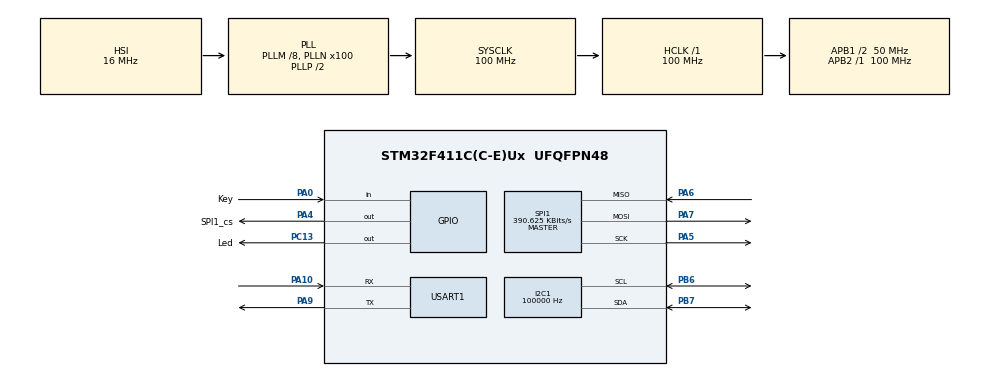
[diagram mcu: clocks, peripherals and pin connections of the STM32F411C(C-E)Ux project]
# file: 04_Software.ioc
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Dma.Request0=USART1_RX
Dma.USART1_RX.0.Direction=DMA_PERIPH_TO_MEMORY
Dma.USART1_RX.0.FIFOMode=DMA_FIFOMODE_DISABLE
Dma.USART1_RX.0.Instance=DMA2_Stream2
Dma.USART1_RX.0.MemDataAlignment=DMA_MDATAALIGN_BYTE
Dma.USART1_RX.0.MemInc=DMA_MINC_ENABLE
Dma.USART1_RX.0.Mode=DMA_NORMAL
Dma.USART1_RX.0.PeriphDataAlignment=DMA_PDATAALIGN_BYTE
Dma.USART1_RX.0.PeriphInc=DMA_PINC_DISABLE
Dma.USART1_RX.0.Priority=DMA_PRIORITY_LOW
FREERTOS.Tasks01=defaultTask,24,128,StartDefaultTask,Default,NULL,Dynamic,NULL,NULL
Mcu.Family=STM32F4
Mcu.Name=STM32F411C(C-E)Ux
Mcu.Package=UFQFPN48
NVIC.DMA2_Stream2_IRQn=true\:6\:0\:false\:false\:true\:true\:false\:true\:true
NVIC.PriorityGroup=NVIC_PRIORITYGROUP_4
NVIC.USART1_IRQn=true\:6\:0\:false\:false\:true\:true\:true\:true\:true
PA0-WKUP.GPIO_Label=Key
PA0-WKUP.Signal=GPIO_Input
PA10.Mode=Asynchronous
PA10.Signal=USART1_RX
PA13.Mode=Serial_Wire
PA13.Signal=SYS_JTMS-SWDIO
PA14.Mode=Serial_Wire
PA14.Signal=SYS_JTCK-SWCLK
PA4.GPIO_Label=SPI1_cs
PA4.GPIO_Speed=GPIO_SPEED_FREQ_HIGH
PA4.Signal=GPIO_Output
PA5.Mode=Full_Duplex_Master
PA5.Signal=SPI1_SCK
PB6.Mode=I2C
PB6.Signal=I2C1_SCL
PB7.Mode=I2C
PB7.Signal=I2C1_SDA
PA6.Mode=Full_Duplex_Master
PA6.Signal=SPI1_MISO
PA7.Mode=Full_Duplex_Master
PA7.Signal=SPI1_MOSI
PA9.Mode=Asynchronous
PA9.Signal=USART1_TX
PC13-ANTI_TAMP.GPIO_Label=Led
PC13-ANTI_TAMP.Signal=GPIO_Output
PC14-OSC32_IN.Mode=LSE-External-Oscillator
PC14-OSC32_IN.Signal=RCC_OSC32_IN
PC15-OSC32_OUT.Mode=LSE-External-Oscillator
PC15-OSC32_OUT.Signal=RCC_OSC32_OUT
PH0\ -\ OSC_IN.Mode=HSE-External-Oscillator
PH0\ -\ OSC_IN.Signal=RCC_OSC_IN
PH1\ -\ OSC_OUT.Mode=HSE-External-Oscillator
PH1\ -\ OSC_OUT.Signal=RCC_OSC_OUT
ProjectManager.HeapSize=0x200
ProjectManager.StackSize=0x400
ProjectManager.TargetToolchain=MDK-ARM V5.32
RCC.48MHZClocksFreq_Value=50000000
RCC.AHBFreq_Value=100000000
RCC.APB1CLKDivider=RCC_HCLK_DIV2
RCC.APB1Freq_Value=50000000
RCC.APB1TimFreq_Value=100000000
RCC.APB2Freq_Value=100000000
RCC.APB2TimFreq_Value=100000000
RCC.CortexFreq_Value=100000000
RCC.HCLKFreq_Value=100000000
RCC.HSE_VALUE=25000000
RCC.HSI_VALUE=16000000
RCC.PLLM=8
RCC.PLLN=100
RCC.SYSCLKFreq_VALUE=100000000
RCC.SYSCLKSource=RCC_SYSCLKSOURCE_PLLCLK
RCC.VCOOutputFreq_Value=200000000
SPI1.BaudRatePrescaler=SPI_BAUDRATEPRESCALER_256
SPI1.CalculateBaudRate=390.625 KBits/s
SPI1.Direction=SPI_DIRECTION_2LINES
SPI1.Mode=SPI_MODE_MASTER
SPI1.VirtualType=VM_MASTER
I2C1.ClockSpeed=100000
I2C1.DutyCycle=I2C_DUTYCYCLE_2
USART1.VirtualMode=VM_ASYNC
VP_FREERTOS_VS_CMSIS_V2.Mode=CMSIS_V2
board=custom

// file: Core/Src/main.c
/* USER CODE BEGIN Header */
/**
  ******************************************************************************
  * @file           : main.c
  * @brief          : Main program body
  ******************************************************************************
  * @attention
  *
  * Copyright (c) 2026 STMicroelectronics.
  * All rights reserved.
  *
  * This software is licensed under terms that can be found in the LICENSE file
  * in the root directory of this software component.
  * If no LICENSE file comes with this software, it is provided AS-IS.
  *
  ******************************************************************************
  */
/* USER CODE END Header */
#include "main.h"
#include "cmsis_os.h"
#include "dma.h"
#include "i2c.h"
#include "spi.h"
#include "usart.h"
#include "gpio.h"

/* USER CODE BEGIN Includes */
#include "OtaFlag.h"
/* ---- 022 屏幕界面移植（只增不改） ---- */
#include "bsp_st7789_port.h"   /* 屏幕 BSP：bsp_st7789_port_init() */
#include "bsp_st7789.h"        /* ST7789_BLACK */
#include "screen_hw.h"         /* SPI2/DMA/GPIO 上电（屏幕专用，不占 SPI1） */
#include "bsp_i2c1_bus.h"      /* I2C1 总线锁（触摸与 EEPROM 共享总线） */
#include "lvgl.h"
#include "lv_port_disp.h"
#include "lv_port_indev.h"     /* lv_port_indev_init() —— 触摸 */
#include "gui_guider.h"        /* guider_ui 全局实例 */
#include "gg_utils.h"          /* setup_ui() —— 建界面并显示 */
#include "custom.h"            /* custom_init() —— 用户逻辑 */
/* USER CODE END Includes */

/* USER CODE BEGIN PV */
/* GUI Guider 界面全局实例（gui_guider.h 里是 extern 声明，定义在这） */
gg_ui_t guider_ui;
/* USER CODE END PV */

void SystemClock_Config(void);
void MX_FREERTOS_Init(void);

/* USER CODE BEGIN 0 */

/* [DBG] 临时排错打点: 每个初始化步骤往 USART1 打一行(115200),
   定位"屏幕黑/卡死在初始化"用, 排错完可整段删掉 */
static void dbg_step(const char *tag)
{
  uint16_t len = 0U;
  while (tag[len] != '\0') { len++; }
  (void)HAL_UART_Transmit(&huart1, (const uint8_t *)tag, len, 50U);
}

/**
  * @brief  App 自检: 新固件第一次上电(标志=0x22"验证新App")时跑,
  *         通过就置 0x33 让 Bootloader 把 A 区固件备份进 B 区
  * @retval 0: 自检通过
  * @note   自检内容: 能执行到这里 = 时钟/Flash/内核基本正常;
  *         再验一遍自己向量表的合法性(栈顶指向 RAM、复位向量落在
  *         App 区间且 bit0=1)。业务级的自检(外设探测等)在各自模块
  *         的 Init 里已经隐式做过。
  *
  *         自检【失败】时的处理是"什么都不做、不喂狗":
  *         Boot 跳过来前开了 IWDG(约8.2s), 不喂狗它自己会复位。
  *         复位后 Boot 检测到"标志0x22 + 看门狗复位"即判定新固件
  *         验证失败, 转回滚流程恢复 B 区旧固件。
  */
static uint8_t App_SelfCheck(void)
{
  const uint32_t *vtor = (const uint32_t *)0x0800C000UL;  /* App 向量表 */
  uint32_t sp = vtor[0];
  uint32_t pc = vtor[1];

  /* 栈顶必须指向 RAM(0x2000xxxx) */
  if ((sp & 0x2FFE0000UL) != 0x20000000UL)
  {
    return 1U;
  }

  /* 复位向量必须落在 App 区间 [0x0800C000, 0x08080000) 且 Thumb 位=1 */
  if ((pc < 0x0800C000UL) || (pc >= 0x08080000UL) || ((pc & 1UL) == 0UL))
  {
    return 1U;
  }

  return 0U;
}

/* USER CODE END 0 */

int main(void)
{

  /* MCU Configuration--------------------------------------------------------*/

  /* Reset of all peripherals, Initializes the Flash interface and the Systick. */
  HAL_Init();

  /* Configure the system clock */
  SystemClock_Config();

  /* Initialize all configured peripherals */
  MX_GPIO_Init();
  MX_DMA_Init();
  MX_USART1_UART_Init();
  MX_SPI1_Init();
  MX_I2C1_Init();
  /* USER CODE BEGIN 2 */

  /* [关键] Boot 的 JumpToApp() 是 __disable_irq() 后直接跳过来的,
     而"跳转"不是复位, PRIMASK 会原样带进 App —— 不在这里重新开中断,
     SysTick 永远不触发, uwTick 不走, 第一处 HAL_Delay 就死循环。
     (Keil 直接下载调试时 PRIMASK 本来就是 0, 这行是给"Boot 跳转"用的) */
  __enable_irq();

  /* ===== 与 Bootloader 的升级交接(见流程图 App侧) =====
     Boot 每次上电按标志扇区分发, 这里是 App 视角的三个入口:
       0x22 验证新App -> 自检 -> 置0x33 -> 复位(Boot 备份 A->B 后跳回)
       0x44/其他      -> 正常运行, 但要接管 Boot 开的 IWDG 持续喂狗 */

  OtaFlag_Load();
  dbg_step("[APP] 1 mx-init done\r\n");

  /* Boot 开的 IWDG 复位后仍在倒计时, 8.2s 内不接管就复位。
     先喂一口, 给下面的自检/初始化买时间 */
  OTA_IWDG_FEED();

  if (OtaFlag_GetAppState() == OTA_FLAG_ST_VERIFY_NEW)
  {
    /* 新固件试用期: 自检通过 -> 置"A区搬运至B区" -> 复位,
       由 Boot 完成备份后置 0x44 再跳回来, 固件正式转正 */
    if (App_SelfCheck() == 0U)
    {
      (void)OtaFlag_SetAppState(OTA_FLAG_ST_AB_MOVE);
      HAL_NVIC_SystemReset();
      for (;;) { }      /* 复位不返回, 兜底 */
    }
    /* 自检失败: 故意不喂狗, 等 IWDG 复位后由 Boot 回滚旧固件 */
    for (;;) { }
  }

  /* ---- 022 屏幕界面移植（业务零改动，全部是追加） ----
     注意：这里在 osKernelInitialize() 之前，lv_init/建界面都没问题；
     LVGL 的循环任务在 freertos.c 的 MX_FREERTOS_Init() 里启动。 */

  /* 1. 屏幕专用硬件：SPI2 + DMA1_Stream4 + CS/DC/RESET。
        与业务的 SPI1(W25Q64) 无关，也不要动这里以外的 SPI 配置 */
  screen_hw_init();
  dbg_step("[APP] 2 screen-hw ok\r\n");

  /* 2. I2C1 总线互斥锁：触摸(CST816S)与 EEPROM(AT24C02) 共享总线，
        两个任务的事务都必须先拿锁（Eeprom.c 里已加） */
  bsp_i2c1_bus_init();
  dbg_step("[APP] 3 i2c-lock ok\r\n");

  /* 3. 屏幕 BSP + 清黑屏（顺带给排错留基准：纯黑=屏好，不亮=背光/复位/时钟） */
  {
    bsp_st7789_driver_t *lcd;
    dbg_step("[APP] 3b lcd-init start\r\n");   /* [DBG] 排错打点, 完了删 */
    lcd = bsp_st7789_port_init();
    if (lcd == NULL)
    {
      dbg_step("[ERR] port_init NULL\r\n");    /* [DBG] 排错打点, 完了删 */
      Error_Handler();
    }
    dbg_step("[APP] 4 lcd-init ok\r\n");
    (void)lcd->pf_fill_color(lcd, ST7789_BLACK);   /* 清黑屏: 第一次大块 DMA 传输 */

    /* 4. LVGL 内核 + 时间基准（不接 tick，动画/定时器全不动） */
    lv_init();
    lv_tick_set_cb(HAL_GetTick);

    /* 5. 显示桥 + 触摸桥。触摸 init 失败不卡程序：屏照常显示，只是没触摸 */
    lv_port_disp_init();
    lv_port_indev_init();
    dbg_step("[APP] 5 lvgl-port ok\r\n");

    /* 6. GUI Guider 022 界面 */
    setup_ui(&guider_ui);
    custom_init(&guider_ui);
    dbg_step("[APP] 6 ui-built ok\r\n");
  }

  /* USER CODE END 2 */

  /* Init scheduler */
  osKernelInitialize();  /* Call init function for freertos objects (in freertos.c) */
  MX_FREERTOS_Init();

  /* Start scheduler */
  dbg_step("[APP] 7 kernel-start\r\n");
  osKernelStart();
  /* We should never get here as control is now taken by the scheduler */
  /* Infinite loop */
  while (1)
  {

  }
}

void SystemClock_Config(void)
{
  RCC_OscInitTypeDef RCC_OscInitStruct = {0};
  RCC_ClkInitTypeDef RCC_ClkInitStruct = {0};

  /** Configure the main internal regulator output voltage
  */
  __HAL_RCC_PWR_CLK_ENABLE();
  __HAL_PWR_VOLTAGESCALING_CONFIG(PWR_REGULATOR_VOLTAGE_SCALE1);

  /** Initializes the RCC Oscillators according to the specified parameters
  * in the RCC_OscInitTypeDef structure.
  */
  RCC_OscInitStruct.OscillatorType = RCC_OSCILLATORTYPE_HSI;
  RCC_OscInitStruct.HSIState = RCC_HSI_ON;
  RCC_OscInitStruct.HSICalibrationValue = RCC_HSICALIBRATION_DEFAULT;
  RCC_OscInitStruct.PLL.PLLState = RCC_PLL_ON;
  RCC_OscInitStruct.PLL.PLLSource = RCC_PLLSOURCE_HSI;
  RCC_OscInitStruct.PLL.PLLM = 8;
  RCC_OscInitStruct.PLL.PLLN = 100;
  RCC_OscInitStruct.PLL.PLLP = RCC_PLLP_DIV2;
  RCC_OscInitStruct.PLL.PLLQ = 4;
  if (HAL_RCC_OscConfig(&RCC_OscInitStruct) != HAL_OK)
  {
    Error_Handler();
  }

  /** Initializes the CPU, AHB and APB buses clocks
  */
  RCC_ClkInitStruct.ClockType = RCC_CLOCKTYPE_HCLK|RCC_CLOCKTYPE_SYSCLK
                              |RCC_CLOCKTYPE_PCLK1|RCC_CLOCKTYPE_PCLK2;
  RCC_ClkInitStruct.SYSCLKSource = RCC_SYSCLKSOURCE_PLLCLK;
  RCC_ClkInitStruct.AHBCLKDivider = RCC_SYSCLK_DIV1;
  RCC_ClkInitStruct.APB1CLKDivider = RCC_HCLK_DIV2;
  RCC_ClkInitStruct.APB2CLKDivider = RCC_HCLK_DIV1;

  if (HAL_RCC_ClockConfig(&RCC_ClkInitStruct, FLASH_LATENCY_3) != HAL_OK)
  {
    Error_Handler();
  }
}

void Error_Handler(void)
{
  /* USER CODE BEGIN Error_Handler_Debug */
  /* User can add his own implementation to report the HAL error return state */
  dbg_step("[ERR] Error_Handler!\r\n");   /* [DBG] 排错打点, 完了删 */
  __disable_irq();
  while (1)
  {
  }
  /* USER CODE END Error_Handler_Debug */
}

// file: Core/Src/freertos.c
/* USER CODE BEGIN Header */
/**
  ******************************************************************************
  * File Name          : freertos.c
  * Description        : Code for freertos applications
  ******************************************************************************
  * @attention
  *
  * Copyright (c) 2026 STMicroelectronics.
  * All rights reserved.
  *
  * This software is licensed under terms that can be found in the LICENSE file
  * in the root directory of this software component.
  * If no LICENSE file comes with this software, it is provided AS-IS.
  *
  ******************************************************************************
  */
/* USER CODE END Header */

#include "FreeRTOS.h"
#include "task.h"
#include "main.h"
#include "cmsis_os.h"

/* USER CODE BEGIN Includes */
#include "OtaApp.h"
#include "OtaFlag.h"    /* OTA_IWDG_FEED: defaultTask 周期喂狗用 */
#include "lvgl_task.h"  /* 022 屏幕界面：LVGL 主循环任务 */
/* USER CODE END Includes */

/* USER CODE BEGIN PD */

/* ---- OTA 相关任务 ----
   线程分配(见设计文档):
     线程1 Default_taskHandle        —— 应用业务(呼吸灯)
     线程2 OTA_taskHandle            —— OTA 状态管理 + 串口收包
     线程3 DownloadAppData_taskHandle—— 把数据落盘到外部 W25Q64 */

/* OTA 线程：状态机 + 收串口，栈上只有 128 字节的 drain 缓冲，2KB 足够 */
#define OTA_TASK_STACK_WORDS        (1024U)

/* 下载线程：栈上要放 OtaFrame_t 和一个 4096 字节的擦写路径，
   但真正的大缓冲(buffer1/buffer2)是模块内的静态区，不在栈上。
   留 2KB 余量给 W25q64 的调用层级 */
#define OTA_DL_TASK_STACK_WORDS     (1024U)
/* USER CODE END PD */

/* USER CODE BEGIN Variables */
/* 串口数据由 OtaApp.c 内部的 DMA 接收区 + 流缓冲承载，这里不另开缓冲。
   中断回调 HAL_UARTEx_RxEventCallback 直接把数据交给 OtaApp（见文件末尾）。 */
/* USER CODE END Variables */

/* Definitions for defaultTask */
osThreadId_t defaultTaskHandle;
const osThreadAttr_t defaultTask_attributes = {
  .name = "defaultTask",
  .stack_size = 128 * 4,
  .priority = (osPriority_t) osPriorityNormal,
};

/* Definitions for ota_task */
osThreadId_t ota_taskHandle;
const osThreadAttr_t ota_task_attributes = {
  .name = "ota_task",
  .stack_size = OTA_TASK_STACK_WORDS * 4,
  /* 状态机要跟上串口节奏，给 Normal。和 defaultTask 同优先级，
     靠 xStreamBufferReceive 的阻塞让出 CPU，不会互相饿死 */
  .priority = (osPriority_t) osPriorityNormal,
};

/* Definitions for DownloadAppData_task */
osThreadId_t DownloadAppData_taskHandle;
const osThreadAttr_t DownloadAppData_task_attributes = {
  .name = "DownloadAppData_task",
  .stack_size = OTA_DL_TASK_STACK_WORDS * 4,
  /* 刻意【低于】OTA 线程一个优先级。
     写一个 4KB 扇区要 130ms(W25Q64 擦 45ms + 写 84ms)，这期间
     如果它比 OTA 线程优先级高，OTA 线程就没机会把串口数据从流缓冲里取走，
     4KB 的流缓冲会被上游灌满并丢数据。
     让它低一级，OTA 线程随时能抢占它去收数据，写 Flash 慢一点没关系。 */
  .priority = (osPriority_t) osPriorityBelowNormal,
};

void StartDefaultTask(void *argument);

void MX_FREERTOS_Init(void); /* (MISRA C 2004 rule 8.1) */

void MX_FREERTOS_Init(void) {

  /* USER CODE BEGIN RTOS_QUEUES */
  /* add queues, ... */
  /* OTA 模块的内核对象(流缓冲/消息队列/信号量)统一在 OtaApp_Init() 里建。
     流缓冲和双缓冲都是静态分配的，不占 FreeRTOS 堆 ——
     configTOTAL_HEAP_SIZE 只有 15KB，8KB 的双缓冲走动态分配会把任务栈挤没 */
  if (OtaApp_Init() != 0)
  {
    Error_Handler();
  }
  /* USER CODE END RTOS_QUEUES */

  /* Create the thread(s) */
  /* creation of defaultTask */
  defaultTaskHandle = osThreadNew(StartDefaultTask, NULL, &defaultTask_attributes);

  /* USER CODE BEGIN RTOS_THREADS */
  /* add threads, ... */
  ota_taskHandle = osThreadNew(OtaApp_Task, NULL, &ota_task_attributes);
  if (ota_taskHandle == NULL)
  {
    Error_Handler();
  }

  DownloadAppData_taskHandle = osThreadNew(OtaApp_DownloadTask, NULL,
                                           &DownloadAppData_task_attributes);
  if (DownloadAppData_taskHandle == NULL)
  {
    Error_Handler();
  }

  /* ---- 022 屏幕界面移植：LVGL 主循环任务（业务零改动，只追加） ----
     main.c 的 USER CODE 2 里已完成 lv_init/显示桥/触摸桥/建界面，
     这里只负责启动循环任务（在 osKernelInitialize 之后，合法） */
  lvgl_task_start();
  /* USER CODE END RTOS_THREADS */

}

void StartDefaultTask(void *argument)
{
  /* USER CODE BEGIN StartDefaultTask */
  (void)argument;

  /* 应用业务线程。OTA 全程在后台跑，这条线程不受影响 ——
     这就是"后台无感下载"要的效果：升级期间设备照常工作 */
  for(;;)
  {
    HAL_GPIO_TogglePin(Led_GPIO_Port, Led_Pin);

    /* 接管 Boot 开的 IWDG(8.2s 超时, 关不掉): 每 500ms 喂一次,
       即使本线程被高优先级任务抢占 ~7s 也不会被狗咬 */
    OTA_IWDG_FEED();

    osDelay(500);
  }
  /* USER CODE END StartDefaultTask */
}

/* USER CODE BEGIN Application */
/**
  * @brief  串口接收事件回调（DMA 半满/全满 或 IDLE 空闲中断触发）
  * @param  huart: 串口句柄
  * @param  Size : 本次实际收到的字节数
  * @retval None
  * @note   在 USART1 中断上下文里执行，只能调带 FromISR 后缀的 FreeRTOS API。
  *         前提是 USART1 的抢占优先级(6)数值上大于
  *         configLIBRARY_MAX_SYSCALL_INTERRUPT_PRIORITY(5) —— 否则调
  *         xStreamBufferSendFromISR 会命中 configASSERT 直接死机。
  *         优先级在 usart.c 的 MX_USART1_UART_Init 里设置，改动需同步 .ioc。
  */
void HAL_UARTEx_RxEventCallback(UART_HandleTypeDef *huart, uint16_t Size)
{
  if (huart->Instance != USART1)
  {
    return;
  }

  /* 一帧收完，DMA 已被 HAL 停掉、RxState 已回到 READY。
     先清 IDLE 标志：它是"总线空闲"标志，不清的话只要总线一直空闲，
     中断就会反复触发 */
  __HAL_UART_CLEAR_IDLEFLAG(huart);

  /* 数据是【拷贝】进流缓冲的，本函数返回后 DMA 接收区就空了，
     可以立刻重挂下一次接收，任务那边读的是流缓冲，不抢同一块内存 */
  OtaApp_OnRxEvent(Size);
}

/**
  * @brief  串口错误回调：出错后接收会停摆，交给任务重新挂起
  */
void HAL_UART_ErrorCallback(UART_HandleTypeDef *huart)
{
  if (huart->Instance != USART1)
  {
    return;
  }

  /* 只置标志，重挂接收交给任务做。
     原因：HAL_DMA_Abort 内部是"关流 + 轮询等待"的阻塞实现，
     在中断里做会长时间占着 CPU，还可能等不到 EN 位清零而超时。 */
  OtaApp_RxError();
}
/* USER CODE END Application */
